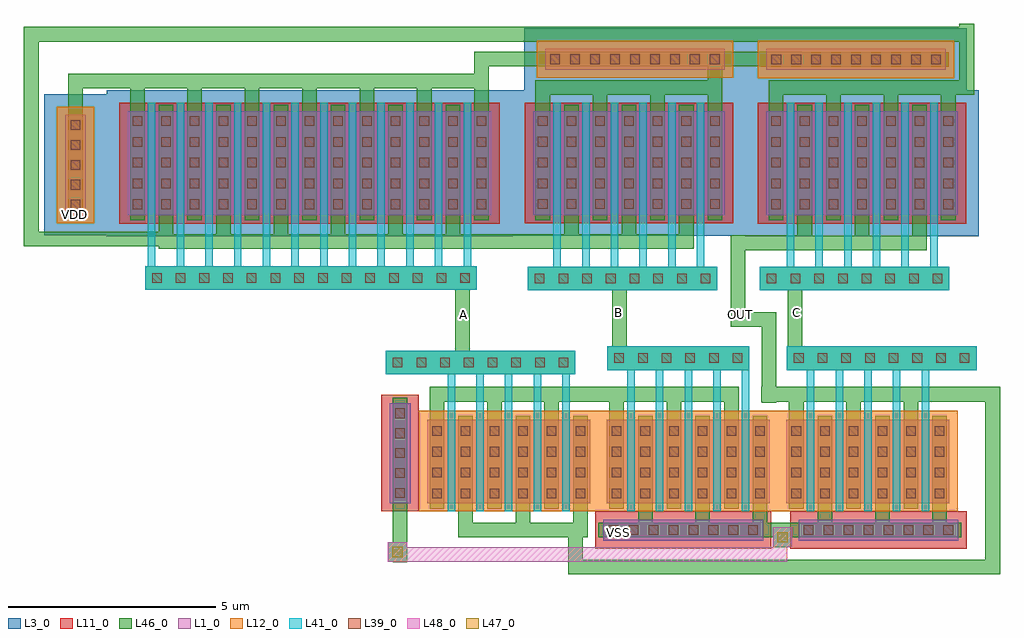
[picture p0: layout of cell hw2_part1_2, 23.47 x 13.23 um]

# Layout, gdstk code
from math import pi, radians
import gdstk
lib = gdstk.Library(unit=1e-6, precision=1e-09)
def R(c, l, rs):  # rectangles x0, y0, x1, y1
    for r in rs: c.add(gdstk.rectangle(r[:2], r[2:], *l))
L1_0 = (1, 0)
L3_0 = (3, 0)
L11_0 = (11, 0)
L12_0 = (12, 0)
L39_0 = (39, 0)
L41_0 = (41, 0)
L46_0 = (46, 0)
L47_0 = (47, 0)
L48_0 = (48, 0)

nmos_body = lib.new_cell('nmos_body')
R(nmos_body, L1_0, [(-0.22,-0.185,0.26,0.315)])
R(nmos_body, L11_0, [(-0.42,-0.385,0.46,0.515)])
R(nmos_body, L39_0, [(-0.095,-0.05,0.135,0.18)])
R(nmos_body, L46_0, [(-0.348,-0.11,0.332,0.24)])

nmos_small = lib.new_cell('nmos_small')
R(nmos_small, L1_0, [(-3.8,0.175,-2.64,0.675)])
R(nmos_small, L12_0, [(-4,-0.045,-2.44,0.875)])
R(nmos_small, L39_0, [(-3.68,0.325,-3.45,0.555), (-2.99,0.325,-2.76,0.555)])
R(nmos_small, L41_0, [(-3.31,-1.025,-3.13,0.875)])
R(nmos_small, L46_0, [(-3.74,0.073,-3.39,0.808), (-3.05,0.073,-2.7,0.808)])

finger_connect = lib.new_cell('finger_connect')
R(finger_connect, L39_0, [(-3.01,-1.32,-2.78,-1.09)])
R(finger_connect, L41_0, [(-3.18,-1.49,-2.61,-0.92)])
R(finger_connect, L46_0, [(-3.18,-1.49,-2.61,-0.92)])

pmos_body = lib.new_cell('pmos_body')
R(pmos_body, L1_0, [(-0.305,-0.355,0.175,0.145)])
R(pmos_body, L3_0, [(-0.805,-0.855,0.675,0.645)])
R(pmos_body, L12_0, [(-0.505,-0.555,0.375,0.345)])
R(pmos_body, L39_0, [(-0.18,-0.22,0.05,0.01)])
R(pmos_body, L46_0, [(-0.433,-0.28,0.247,0.07)])

mental1_connect = lib.new_cell('mental1_connect')
R(mental1_connect, L46_0, [(0.875,-0.297,1.225,0.108), (-0.505,-0.292,-0.155,0.108), (-0.505,0.108,1.225,0.458)])

pmos_small = lib.new_cell('pmos_small')
R(pmos_small, L1_0, [(-0.57,-0.225,0.59,0.275)])
R(pmos_small, L3_0, [(-1.07,-0.725,1.09,0.775)])
R(pmos_small, L11_0, [(-0.77,-0.425,0.79,0.475)])
R(pmos_small, L39_0, [(-0.45,-0.075,-0.22,0.155), (0.24,-0.075,0.47,0.155)])
R(pmos_small, L41_0, [(-0.08,-1.49,0.1,0.475)])
R(pmos_small, L46_0, [(-0.51,-0.347,-0.16,0.428), (0.18,-0.342,0.53,0.423)])

hw2_part1_2 = lib.new_cell('hw2_part1_2')
R(hw2_part1_2, L46_0, [(-2.505,1.245,-2.035,1.715), (6.75,1.604,7.22,2.074)])
R(hw2_part1_2, L47_0, [(-2.395,1.355,-2.145,1.605), (6.86,1.714,7.11,1.964)])
R(hw2_part1_2, L48_0, [(-2.505,1.245,-2.035,1.715), (6.75,1.604,7.22,2.074)])
hw2_part1_2.add(gdstk.FlexPath([(7.285,5.89),(7.285,8.025)], 0.35, ends="flush", simple_path=True, layer=46, datatype=0))  # L46_0
hw2_part1_2.add(gdstk.FlexPath([(6.655,5.07),(6.655,7.08),(5.915,7.08),(5.915,9.085)], 0.35, ends="flush", simple_path=True, layer=46, datatype=0))  # L46_0
hw2_part1_2.add(gdstk.FlexPath([(0.235,5.277),(3.064,5.277)], 0.35, ends="flush", simple_path=True, layer=46, datatype=0))  # L46_0
hw2_part1_2.add(gdstk.FlexPath([(6.475,5.277),(7.34,5.277)], 0.35, ends="flush", simple_path=True, layer=46, datatype=0))  # L46_0
hw2_part1_2.add(gdstk.FlexPath([(4.878,2.01),(7.707,2.01)], 0.35, ends="flush", simple_path=True, layer=46, datatype=0))  # L46_0
hw2_part1_2.add(gdstk.FlexPath([(-2.21,1.24),(-2.21,2.68)], 0.35, ends="flush", simple_path=True, layer=46, datatype=0))  # L46_0
hw2_part1_2.add(gdstk.FlexPath([(10.075,5.277),(12.04,5.277),(12.04,1.127),(2.005,1.127),(2.005,1.837)], 0.35, ends="flush", simple_path=True, layer=46, datatype=0))  # L46_0
hw2_part1_2.add(gdstk.FlexPath([(10.765,1.835),(10.765,2.936)], 0.35, ends="flush", simple_path=True, layer=46, datatype=0))  # L46_0
hw2_part1_2.add(gdstk.FlexPath([(-0.715,5.89),(-0.715,7.905)], 0.35, ends="flush", simple_path=True, layer=46, datatype=0))  # L46_0
hw2_part1_2.add(gdstk.FlexPath([(3.06,5.91),(3.06,7.845)], 0.35, ends="flush", simple_path=True, layer=46, datatype=0))  # L46_0
hw2_part1_2.add(gdstk.FlexPath([(5.765,8.92),(7.61,8.92)], 0.35, ends="flush", simple_path=True, layer=46, datatype=0))  # L46_0
hw2_part1_2.add(gdstk.FlexPath([(-1.01,8.95),(1.819,8.95)], 0.35, ends="flush", simple_path=True, layer=46, datatype=0))  # L46_0
hw2_part1_2.add(gdstk.FlexPath([(-0.425,13.334),(2.404,13.334)], 0.35, ends="flush", simple_path=True, layer=46, datatype=0))  # L46_0
hw2_part1_2.add(gdstk.FlexPath([(-11.255,13.934),(11.585,13.934)], 0.35, ends="flush", simple_path=True, layer=46, datatype=0))  # L46_0
hw2_part1_2.add(gdstk.FlexPath([(11.415,14.184),(11.415,12.655),(11.01,12.655)], 0.35, ends="flush", simple_path=True, layer=46, datatype=0))  # L46_0
hw2_part1_2.add(gdstk.FlexPath([(-7.905,9.009),(-11.08,9.009),(-11.08,13.934)], 0.35, ends="flush", simple_path=True, layer=46, datatype=0))  # L46_0
hw2_part1_2.add(gdstk.FlexPath([(5.36,12.233),(5.36,13.334)], 0.35, ends="flush", simple_path=True, layer=46, datatype=0))  # L46_0
hw2_part1_2.add(gdstk.FlexPath([(4.615,13.334),(7.444,13.334)], 0.35, ends="flush", simple_path=True, layer=46, datatype=0))  # L46_0
hw2_part1_2.add(gdstk.FlexPath([(-0.425,13.334),(2.404,13.334)], 0.35, ends="flush", simple_path=True, layer=46, datatype=0))  # L46_0
hw2_part1_2.add(gdstk.FlexPath([(-0.25,12.233),(-0.25,13.334)], 0.35, ends="flush", simple_path=True, layer=46, datatype=0))  # L46_0
hw2_part1_2.add(gdstk.FlexPath([(-10.19,12.81),(-8.448,12.81)], 0.35, ends="flush", simple_path=True, layer=46, datatype=0))  # L46_0
hw2_part1_2.add(gdstk.FlexPath([(-10.015,11.897),(-10.015,12.985)], 0.35, ends="flush", simple_path=True, layer=46, datatype=0))  # L46_0
hw2_part1_2.add(gdstk.FlexPath([(6.925,2.029),(6.925,1.42),(-2.415,1.42)], 0.35, ends="flush", simple_path=True, layer=48, datatype=0))  # L48_0
r = gdstk.Reference(nmos_body, (-2.275,4.84), rotation=3*pi/2); r.repetition = gdstk.Repetition(5, 1, v1=(0,-0.48), v2=(0.5,0)); hw2_part1_2.add(r)
r = gdstk.Reference(nmos_body, (2.9,1.945)); r.repetition = gdstk.Repetition(8, 1, v1=(0.48,0), v2=(0,0.5)); hw2_part1_2.add(r)
r = gdstk.Reference(nmos_body, (7.59,1.945)); r.repetition = gdstk.Repetition(8, 1, v1=(0.48,0), v2=(0,0.5)); hw2_part1_2.add(r)
r = gdstk.Reference(nmos_small, (7.2,4.835), rotation=pi); r.repetition = gdstk.Repetition(5, 4, v1=(-0.69,0), v2=(0,-0.5)); hw2_part1_2.add(r)
r = gdstk.Reference(nmos_small, (2.88,4.835), rotation=pi); r.repetition = gdstk.Repetition(5, 4, v1=(-0.69,0), v2=(0,-0.5)); hw2_part1_2.add(r)
r = gdstk.Reference(nmos_small, (-1.44,4.835), rotation=pi); r.repetition = gdstk.Repetition(5, 4, v1=(-0.69,0), v2=(0,-0.5)); hw2_part1_2.add(r)
r = gdstk.Reference(finger_connect, (5.95,7.35)); r.repetition = gdstk.Repetition(6, 1, v1=(0.57,0), v2=(0,0.57)); hw2_part1_2.add(r)
r = gdstk.Reference(finger_connect, (0.625,7.245)); r.repetition = gdstk.Repetition(8, 1, v1=(0.57,0), v2=(0,0.57)); hw2_part1_2.add(r)
r = gdstk.Reference(finger_connect, (9.62,9.265)); r.repetition = gdstk.Repetition(8, 1, v1=(0.57,0), v2=(0,0.57)); hw2_part1_2.add(r)
r = gdstk.Reference(finger_connect, (4.04,9.265)); r.repetition = gdstk.Repetition(8, 1, v1=(0.57,0), v2=(0,0.57)); hw2_part1_2.add(r)
r = gdstk.Reference(finger_connect, (-5.165,9.28)); r.repetition = gdstk.Repetition(14, 1, v1=(0.57,0), v2=(0,0.57)); hw2_part1_2.add(r)
r = gdstk.Reference(finger_connect, (10.27,7.35)); r.repetition = gdstk.Repetition(8, 1, v1=(0.57,0), v2=(0,0.57)); hw2_part1_2.add(r)
r = gdstk.Reference(pmos_body, (1.58,13.439)); r.repetition = gdstk.Repetition(9, 1, v1=(0.48,0), v2=(0,0.5)); hw2_part1_2.add(r)
r = gdstk.Reference(pmos_body, (6.9,13.437)); r.repetition = gdstk.Repetition(9, 1, v1=(0.48,0), v2=(0,0.5)); hw2_part1_2.add(r)
r = gdstk.Reference(pmos_body, (-10.12,9.9), rotation=pi/2); r.repetition = gdstk.Repetition(5, 1, v1=(0,0.48), v2=(-0.5,0)); hw2_part1_2.add(r)
r = gdstk.Reference(mental1_connect, (6.115,2.293), rotation=pi); r.repetition = gdstk.Repetition(2, 1, v1=(-1.38,0), v2=(0,-0.75)); hw2_part1_2.add(r)
r = gdstk.Reference(mental1_connect, (1.795,2.293), rotation=pi); r.repetition = gdstk.Repetition(2, 1, v1=(-1.38,0), v2=(0,-0.75)); hw2_part1_2.add(r)
r = gdstk.Reference(mental1_connect, (-0.995,4.994)); r.repetition = gdstk.Repetition(2, 1, v1=(1.38,0), v2=(0,0.75)); hw2_part1_2.add(r)
r = gdstk.Reference(mental1_connect, (10.435,2.293), rotation=pi); r.repetition = gdstk.Repetition(2, 1, v1=(-1.38,0), v2=(0,-0.75)); hw2_part1_2.add(r)
r = gdstk.Reference(mental1_connect, (3.325,4.994)); r.repetition = gdstk.Repetition(2, 1, v1=(1.38,0), v2=(0,0.75)); hw2_part1_2.add(r)
r = gdstk.Reference(mental1_connect, (7.645,4.994)); r.repetition = gdstk.Repetition(2, 1, v1=(1.38,0), v2=(0,0.75)); hw2_part1_2.add(r)
r = gdstk.Reference(mental1_connect, (9.95,9.198), rotation=pi); r.repetition = gdstk.Repetition(2, 1, v1=(-1.38,0), v2=(0,-0.75)); hw2_part1_2.add(r)
r = gdstk.Reference(mental1_connect, (7.16,12.372)); r.repetition = gdstk.Repetition(3, 1, v1=(1.38,0), v2=(0,0.75)); hw2_part1_2.add(r)
r = gdstk.Reference(mental1_connect, (4.34,9.233), rotation=pi); r.repetition = gdstk.Repetition(2, 1, v1=(-1.38,0), v2=(0,-0.75)); hw2_part1_2.add(r)
r = gdstk.Reference(mental1_connect, (1.55,12.369)); r.repetition = gdstk.Repetition(3, 1, v1=(1.38,0), v2=(0,0.75)); hw2_part1_2.add(r)
r = gdstk.Reference(mental1_connect, (-1.27,9.233), rotation=pi); r.repetition = gdstk.Repetition(5, 1, v1=(-1.38,0), v2=(0,-0.75)); hw2_part1_2.add(r)
r = gdstk.Reference(mental1_connect, (-8.2,12.527)); r.repetition = gdstk.Repetition(6, 1, v1=(1.38,0), v2=(0,0.75)); hw2_part1_2.add(r)
r = gdstk.Reference(pmos_small, (7.165,9.807)); r.repetition = gdstk.Repetition(6, 5, v1=(0.69,0), v2=(0,0.5)); hw2_part1_2.add(r)
r = gdstk.Reference(pmos_small, (1.555,9.809)); r.repetition = gdstk.Repetition(6, 5, v1=(0.69,0), v2=(0,0.5)); hw2_part1_2.add(r)
r = gdstk.Reference(pmos_small, (-8.195,9.807)); r.repetition = gdstk.Repetition(12, 5, v1=(0.69,0), v2=(0,0.5)); hw2_part1_2.add(r)
hw2_part1_2.add(gdstk.Label('VSS', (3.03,1.96), layer=101, texttype=0))
hw2_part1_2.add(gdstk.Label('OUT', (5.97,7.185), layer=101, texttype=0))
hw2_part1_2.add(gdstk.Label('VDD', (-10.035,9.605), layer=101, texttype=0))
hw2_part1_2.add(gdstk.Label('C', (7.33,7.24), layer=101, texttype=0))
hw2_part1_2.add(gdstk.Label('B', (3.03,7.24), layer=101, texttype=0))
hw2_part1_2.add(gdstk.Label('A', (-0.68,7.195), layer=101, texttype=0))

lib.write_gds('hw2_part1_2.gds')
